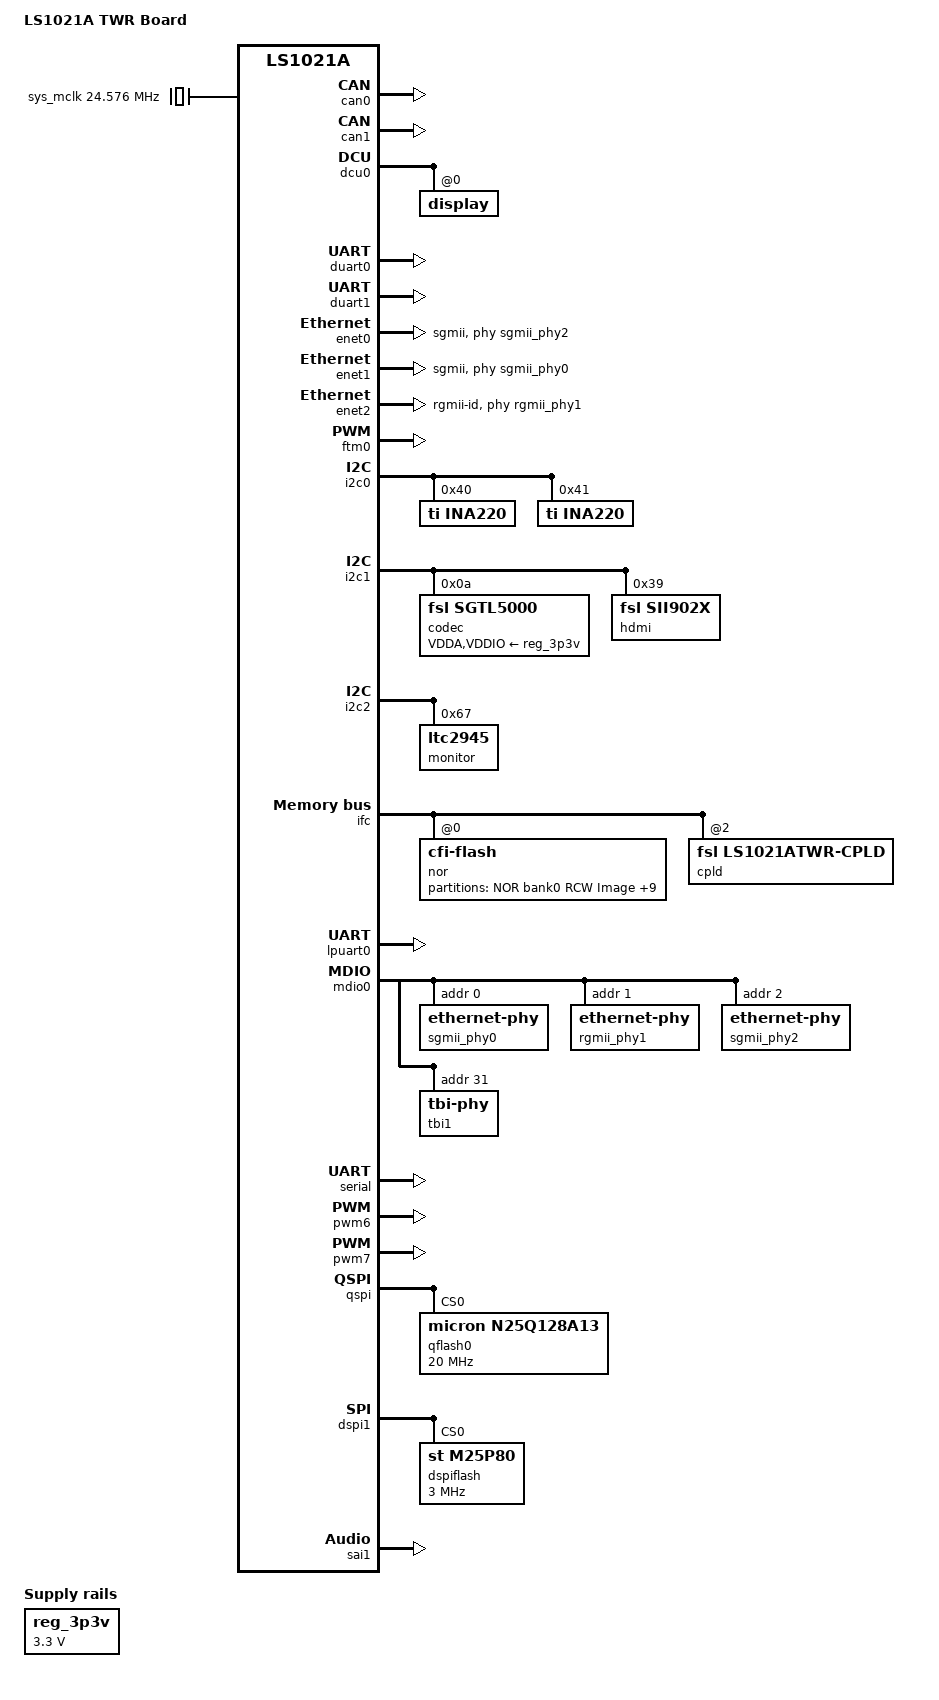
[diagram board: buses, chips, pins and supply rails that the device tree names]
/*
 * Copyright 2013-2015 Freescale Semiconductor, Inc.
 *
 * This program is free software; you can redistribute it and/or modify
 * it under the terms of the GNU General Public License as published by
 * the Free Software Foundation; either version 2 of the License, or
 * (at your option) any later version.
 */

/dts-v1/;

#include "ls1021a.dtsi"

/ {
	model = "LS1021A TWR Board";

	aliases {
		enet2_rgmii_phy = &rgmii_phy1;
		enet0_sgmii_phy = &sgmii_phy2;
		enet1_sgmii_phy = &sgmii_phy0;
	};

	clocks {
		sys_mclk: clock {
			compatible = "fixed-clock";
			#clock-cells = <0>;
			clock-frequency = <24576000>;
		};
	};

	regulators {
		compatible = "simple-bus";
		#address-cells = <1>;
		#size-cells = <0>;

		reg_3p3v: regulator@0 {
			compatible = "regulator-fixed";
			reg = <0>;
			regulator-name = "3P3V";
			regulator-min-microvolt = <3300000>;
			regulator-max-microvolt = <3300000>;
			regulator-always-on;
		};
	};

	sound {
		compatible = "fsl,vf610-sgtl5000";
		simple-audio-card,name = "FSL-VF610-TWR-BOARD";
		simple-audio-card,routing =
			"MIC_IN", "Microphone Jack",
			"Microphone Jack", "Mic Bias",
			"LINE_IN", "Line In Jack",
			"Headphone Jack", "HP_OUT",
			"Speaker Ext", "LINE_OUT";

		simple-audio-card,cpu = <&sai1>;

		simple-audio-card,codec = <&codec>;
	};
};

&can0 {
	status = "okay";
};

&can1 {
	status = "okay";
};

&can2 {
	status = "disabled";
};

&can3 {
	status = "disabled";
};

&dcu0 {
	display = <&display>;
	status = "okay";

	display: display@0 {
		bits-per-pixel = <24>;

		display-timings {
			native-mode = <&timing0>;
			timing0: nl4827hc19 {
				clock-frequency = <10870000>;
				hactive = <480>;
				vactive = <272>;
				hback-porch = <2>;
				hfront-porch = <2>;
				vback-porch = <2>;
				vfront-porch = <2>;
				hsync-len = <41>;
				vsync-len = <4>;
				hsync-active = <1>;
				vsync-active = <1>;
			};
		};
	};
};

&duart0 {
	status = "okay";
};

&duart1 {
	status = "okay";
};

&enet0 {
	tbi-handle = <&tbi1>;
	phy-handle = <&sgmii_phy2>;
	phy-connection-type = "sgmii";
	status = "okay";
};

&enet1 {
	tbi-handle = <&tbi1>;
	phy-handle = <&sgmii_phy0>;
	phy-connection-type = "sgmii";
	status = "okay";
};

&enet2 {
	phy-handle = <&rgmii_phy1>;
	phy-connection-type = "rgmii-id";
	status = "okay";
};

&ftm0 {
	status = "okay";
};

&i2c0 {
	status = "okay";

	ina220@40 {
		compatible = "ti,ina220";
		reg = <0x40>;
		shunt-resistor = <1000>;
	};

	ina220@41 {
		compatible = "ti,ina220";
		reg = <0x41>;
		shunt-resistor = <1000>;
	};
};

&i2c1 {
	status = "okay";
	codec: sgtl5000@a {
		compatible = "fsl,sgtl5000";
		reg = <0x0a>;
		VDDA-supply = <&reg_3p3v>;
		VDDIO-supply = <&reg_3p3v>;
		clocks = <&sys_mclk 1>;
	};

	hdmi: sii9022a@39 {
	      compatible = "fsl,sii902x";
	      reg = <0x39>;
	      interrupts = <GIC_SPI 167 IRQ_TYPE_EDGE_RISING>;
	};
};

&i2c2 {
	status = "okay";
	monitor: ltc2945@67 {
		reg = <0x67>;
	};
};

&ifc {
	status = "okay";
	#address-cells = <2>;
	#size-cells = <1>;
	/* NOR, and CPLD on board */
	ranges = <0x0 0x0 0x0 0x60000000 0x08000000
		0x2 0x0 0x0 0x7fb00000 0x00000100>;

		nor@0,0 {
			compatible = "cfi-flash";
			#address-cells = <1>;
			#size-cells = <1>;
			reg = <0x0 0x0 0x8000000>;
			bank-width = <2>;
			device-width = <1>;

			partition@0 {
				/* 128KB for bank0 RCW */
				reg = <0x00000000 0x00020000>;
				label = "NOR bank0 RCW Image";
			};

			partition@100000 {
				/* 1MB for bank0 u-boot Image */
				reg = <0x00100000 0x00100000>;
				label = "NOR bank0 u-boot Image";
			};

			partition@200000 {
				/* 1MB for bank0 DTB */
				reg = <0x00200000 0x00100000>;
				label = "NOR bank0 DTB Image";
			};

			partition@300000 {
				/* 7MB for bank0 Linux Kernel */
				reg = <0x00300000 0x00700000>;
				label = "NOR bank0 Linux Kernel Image";
			};

			partition@a00000 {
				/* 54MB for bank0 Ramdisk Root File System */
				reg = <0x00a00000 0x03600000>;
				label = "NOR bank0 Ramdisk Root File System Image";
			};

			partition@4000000 {
				/* 128KB for bank4 RCW */
				reg = <0x04000000 0x00020000>;
				label = "NOR bank4 RCW Image";
			};

			partition@4100000 {
				/* 1MB for bank4 u-boot Image */
				reg = <0x04100000 0x00100000>;
				label = "NOR bank4 u-boot Image";
			};

			partition@4200000 {
				/* 1MB for bank4 DTB */
				reg = <0x04200000 0x00100000>;
				label = "NOR bank4 DTB Image";
			};

			partition@4300000 {
				/* 7MB for bank4 Linux Kernel */
				reg = <0x04300000 0x00700000>;
				label = "NOR bank4 Linux Kernel Image";
			};

			partition@4a00000 {
				/* 54MB for bank4 Ramdisk Root File System */
				reg = <0x04a00000 0x03600000>;
				label = "NOR bank4 Ramdisk Root File System Image";
			};
		};

		cpld@2,0 {
			compatible = "fsl,ls1021atwr-cpld";
			reg = <0x2 0x0 0x100>;
		};
};

&lpuart0 {
	status = "okay";
};

&mdio0 {
	sgmii_phy0: ethernet-phy@0 {
		reg = <0x0>;
	};
	rgmii_phy1: ethernet-phy@1 {
		reg = <0x1>;
	};
	sgmii_phy2: ethernet-phy@2 {
		reg = <0x2>;
	};
	tbi1: tbi-phy@1f {
		reg = <0x1f>;
		device_type = "tbi-phy";
	};
};

&uqe {
	tdma: ucc@2000 {
		compatible = "fsl,ucc-tdm";
		rx-clock-name = "clk8";
		tx-clock-name = "clk9";
		fsl,rx-sync-clock = "rsync_pin";
		fsl,tx-sync-clock = "tsync_pin";
		fsl,tx-timeslot = <0xfffffffe>;
		fsl,rx-timeslot = <0xfffffffe>;
		fsl,tdm-framer-type = "e1";
		fsl,tdm-mode = "normal";
		fsl,tdm-id = <0>;
		fsl,siram-entry-id = <0>;
	};

	serial: ucc@2200 {
		device_type = "serial";
		compatible = "ucc_uart";
		port-number = <1>;
		rx-clock-name = "brg2";
		tx-clock-name = "brg2";
	};
};

&pwm6 {
	status = "okay";
};

&pwm7 {
	status = "okay";
};

&qspi {
	num-cs = <2>;
	status = "okay";

	qflash0: n25q128a13@0 {
		compatible = "micron,n25q128a13";
		#address-cells = <1>;
		#size-cells = <1>;
		spi-max-frequency = <20000000>;
		reg = <0>;
	};
};

&dspi1 {
	bus-num = <0>;
	status = "okay";

	dspiflash: compatible@0 {
		compatible = "st,m25p80";
		#address-cells = <1>;
		#size-cells = <1>;
		spi-max-frequency = <3000000>;
		spi-cpol;
		spi-cpha;
		reg = <0>;
	};
};

&sai1 {
	status = "okay";
};
